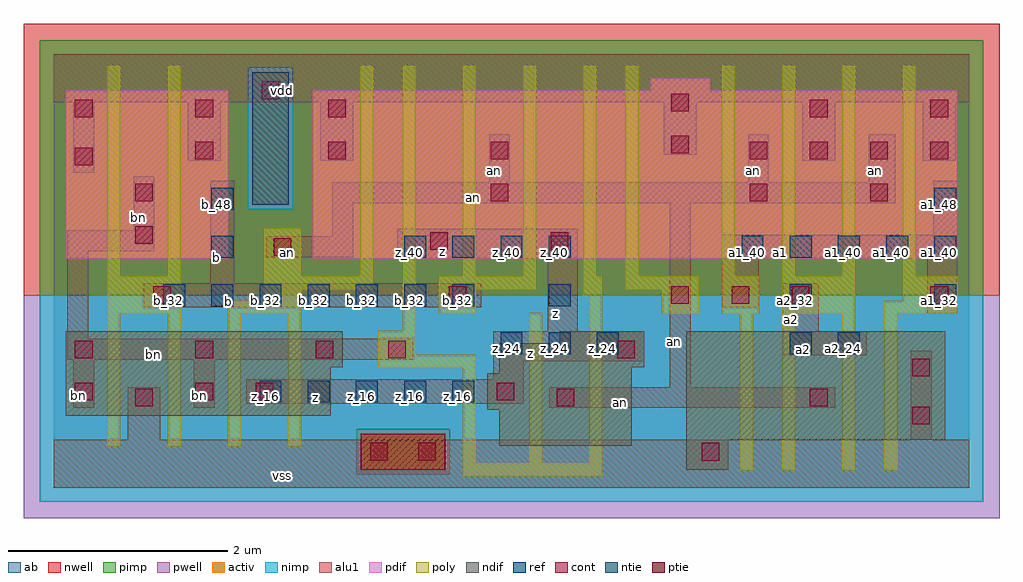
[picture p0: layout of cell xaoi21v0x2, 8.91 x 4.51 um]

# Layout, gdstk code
import gdstk
lib = gdstk.Library(unit=1e-6, precision=2.5e-09)
def R(c, l, rs):  # rectangles x0, y0, x1, y1
    for r in rs: c.add(gdstk.rectangle(r[:2], r[2:], *l))
def A(c, l, x, y, w, h, nx, ny, dx, dy):  # array of equal rectangles
    R(c, l, [(x+i*dx, y+j*dy, x+i*dx+w, y+j*dy+h) for i in range(nx) for j in range(ny)])
ndif = (3, 0)
pdif = (4, 0)
ntie = (5, 0)
ptie = (6, 0)
ref = (24, 0)
cont = (25, 0)
pwell = (41, 0)
nwell = (42, 0)
activ = (43, 0)
pimp = (44, 0)
nimp = (45, 0)
poly = (46, 0)
alu1 = (49, 0)
ab = (63, 0)

xaoi21v0x2 = lib.new_cell('xaoi21v0x2')
R(xaoi21v0x2, ndif, [(5.775,0.165,6.16,0.44), (4.07,0.385,5.28,0.715), (5.775,0.44,8.14,1.43), (0.11,0.66,2.53,1.1), (3.96,0.715,5.28,1.045), (4.07,1.045,5.28,1.1), (0.11,1.1,2.64,1.43), (4.07,1.1,5.39,1.32), (4.62,1.32,5.39,1.43)])
R(xaoi21v0x2, pdif, [(0.11,2.09,1.595,3.63), (2.365,2.09,8.25,3.63), (5.445,3.63,5.995,3.74)])
R(xaoi21v0x2, ntie, [(1.815,2.585,2.145,3.795)])
R(xaoi21v0x2, ptie, [(2.805,0.165,3.575,0.495)])
A(xaoi21v0x2, ref, 1.88, 0.78, 0.2, 0.2, 5, 1, 0.44, 0)
A(xaoi21v0x2, ref, 4.08, 1.22, 0.2, 0.2, 3, 1, 0.44, 0)
A(xaoi21v0x2, ref, 1, 1.66, 0.2, 0.2, 7, 1, 0.44, 0)
A(xaoi21v0x2, ref, 3.2, 2.1, 0.2, 0.2, 4, 1, 0.44, 0)
A(xaoi21v0x2, ref, 6.28, 2.1, 0.2, 0.2, 5, 1, 0.44, 0)
R(xaoi21v0x2, ref, [(6.72,1.22,6.92,1.42), (7.16,1.22,7.36,1.42), (4.52,1.66,4.72,1.86), (6.72,1.66,6.92,1.86), (8.04,1.66,8.24,1.86), (1.44,2.1,1.64,2.3), (1.44,2.54,1.64,2.74), (8.04,2.54,8.24,2.74)])
A(xaoi21v0x2, cont, 0.195, 1.185, 0.16, 0.16, 3, 1, 1.1, 0)
A(xaoi21v0x2, cont, 5.64, 1.68, 0.16, 0.16, 3, 1, 0.55, 0)
A(xaoi21v0x2, cont, 6.355, 3, 0.16, 0.16, 4, 1, 0.55, 0)
R(xaoi21v0x2, cont, [(2.89,0.25,3.05,0.41), (3.33,0.25,3.49,0.41), (5.915,0.25,6.075,0.41), (7.84,0.58,8,0.74), (0.745,0.745,0.905,0.905), (4.595,0.745,4.755,0.905), (6.905,0.745,7.065,0.905), (0.195,0.8,0.355,0.96), (1.295,0.8,1.455,0.96), (1.845,0.8,2.005,0.96), (4.045,0.8,4.205,0.96), (7.84,1.02,8,1.18), (3.055,1.185,3.215,1.345), (5.145,1.185,5.305,1.345), (0.91,1.68,1.07,1.84), (3.605,1.68,3.765,1.84), (8.005,1.68,8.165,1.84), (2.01,2.12,2.17,2.28), (3.44,2.175,3.6,2.335), (4.54,2.175,4.7,2.335), (0.745,2.23,0.905,2.39), (0.745,2.615,0.905,2.775), (3.99,2.615,4.15,2.775), (6.355,2.615,6.515,2.775), (7.455,2.615,7.615,2.775), (0.195,2.945,0.355,3.105), (1.295,3,1.455,3.16), (2.505,3,2.665,3.16), (3.99,3,4.15,3.16), (5.64,3.055,5.8,3.215), (0.195,3.385,0.355,3.545), (1.295,3.385,1.455,3.545), (2.505,3.385,2.665,3.545), (6.905,3.385,7.065,3.545), (8.005,3.385,8.165,3.545), (5.64,3.44,5.8,3.6), (1.9,3.55,2.06,3.71)])
R(xaoi21v0x2, pwell, [(-0.275,-0.275,8.635,1.76)])
R(xaoi21v0x2, nwell, [(-0.275,1.76,8.635,4.235)])
R(xaoi21v0x2, activ, [(2.805,0.165,3.575,0.495), (5.775,0.165,6.16,0.44), (4.07,0.385,5.28,0.715), (5.775,0.44,8.14,1.43), (0.11,0.66,2.53,1.1), (3.96,0.715,5.28,1.045), (4.07,1.045,5.28,1.1), (0.11,1.1,2.64,1.43), (4.07,1.1,5.39,1.32), (4.62,1.32,5.39,1.43), (0.11,2.09,1.595,3.63), (2.365,2.09,8.25,3.63), (1.815,2.585,2.145,3.795), (5.445,3.63,5.995,3.74)])
R(xaoi21v0x2, pimp, [(2.765,0.125,3.615,0.535), (-0.125,1.76,8.485,2.545), (-0.125,2.545,1.775,3.835), (2.185,2.545,8.485,3.835), (-0.125,3.835,8.485,4.085)])
R(xaoi21v0x2, nimp, [(-0.125,-0.125,8.485,0.125), (-0.125,0.125,2.765,0.535), (3.615,0.125,8.485,0.535), (-0.125,0.535,8.485,1.76), (1.775,2.545,2.185,3.835)])
A(xaoi21v0x2, poly, 0.49, 0.38, 0.12, 1.21, 4, 1, 0.55, 0)
A(xaoi21v0x2, poly, 3.735, 1.93, 0.12, 1.925, 3, 1, 0.55, 0)
A(xaoi21v0x2, poly, 6.1, 1.93, 0.12, 1.925, 4, 1, 0.55, 0)
R(xaoi21v0x2, poly, [(3.735,0.105,5.01,0.225), (6.265,0.16,6.385,1.59), (6.65,0.16,6.77,1.59), (7.2,0.16,7.32,1.59), (7.585,0.16,7.705,1.59), (3.735,0.225,3.855,1.095), (4.34,0.225,4.46,1.6), (4.89,0.225,5.01,1.755), (2.965,1.095,3.855,1.215), (2.965,1.215,3.305,1.435), (3.185,1.435,3.305,3.855), (0.49,1.59,1.16,1.93), (1.59,1.59,2.26,1.71), (3.515,1.59,3.855,1.81), (5.55,1.59,5.89,1.81), (6.1,1.59,6.44,1.93), (6.65,1.59,7.32,1.93), (7.585,1.59,8.255,1.71), (1.92,1.71,2.26,1.81), (7.75,1.71,8.255,1.93), (4.835,1.755,5.01,1.93), (1.92,1.81,2.92,1.93), (3.515,1.81,4.405,1.93), (5.22,1.81,5.89,1.93), (0.49,1.93,0.61,3.855), (1.04,1.93,1.16,3.855), (1.92,1.93,2.26,2.37), (2.8,1.93,2.92,3.855), (5.22,1.93,5.34,3.855)])
R(xaoi21v0x2, alu1, [(0,0,8.36,0.44), (0.675,0.44,0.975,0.92), (7.825,0.44,8.015,1.25), (0.18,0.73,0.37,1.17), (1.28,0.73,1.47,1.17), (4.525,0.73,7.135,0.92), (1.76,0.77,4.29,0.99), (5.625,0.92,5.815,2.6), (4.015,0.99,4.29,1.155), (4.015,1.155,5.39,1.43), (0.125,1.17,3.285,1.36), (6.655,1.21,7.425,1.43), (0.125,1.36,0.315,2.16), (4.51,1.43,4.785,2.09), (6.655,1.43,6.985,1.87), (7.975,1.595,8.25,2.09), (0.825,1.65,3.905,1.87), (6.105,1.65,6.435,2.09), (1.43,1.87,1.65,2.805), (3.135,2.09,4.785,2.365), (6.105,2.09,8.25,2.31), (1.94,2.105,2.735,2.295), (0.125,2.16,0.92,2.35), (2.545,2.295,2.735,2.6), (8.03,2.31,8.25,2.805), (0.73,2.35,0.92,2.845), (2.545,2.6,7.685,2.79), (3.975,2.79,4.165,3.23), (6.34,2.79,6.53,3.23), (7.44,2.79,7.685,3.23), (0.18,2.875,0.37,3.52), (1.225,2.985,1.525,3.52), (2.435,2.985,2.735,3.52), (6.835,2.985,7.135,3.52), (7.935,2.985,8.235,3.52), (5.57,3.04,5.87,3.52), (0,3.52,8.36,3.96)])
R(xaoi21v0x2, ab, [(0,0,8.36,3.96)])
xaoi21v0x2.add(gdstk.Label('vss', (2.09,0.11), layer=49, texttype=0))
xaoi21v0x2.add(gdstk.Label('an', (5.1775,0.7775), layer=49, texttype=0))
xaoi21v0x2.add(gdstk.Label('a2', (6.8475,1.265), layer=49, texttype=0))
xaoi21v0x2.add(gdstk.Label('a2', (6.7375,1.54), layer=49, texttype=0))
xaoi21v0x2.add(gdstk.Label('a1', (6.64,2.145), layer=49, texttype=0))
xaoi21v0x2.add(gdstk.Label('an', (5.6725,1.34), layer=49, texttype=0))
xaoi21v0x2.add(gdstk.Label('z', (2.3925,0.825), layer=49, texttype=0))
xaoi21v0x2.add(gdstk.Label('z', (4.3575,1.2225), layer=49, texttype=0))
xaoi21v0x2.add(gdstk.Label('bn', (1.3275,0.84), layer=49, texttype=0))
xaoi21v0x2.add(gdstk.Label('bn', (0.2275,0.84), layer=49, texttype=0))
xaoi21v0x2.add(gdstk.Label('bn', (0.915,1.2175), layer=49, texttype=0))
xaoi21v0x2.add(gdstk.Label('z', (4.5775,1.595), layer=49, texttype=0))
xaoi21v0x2.add(gdstk.Label('b', (1.595,1.705), layer=49, texttype=0))
xaoi21v0x2.add(gdstk.Label('z', (3.5475,2.1575), layer=49, texttype=0))
xaoi21v0x2.add(gdstk.Label('an', (2.1375,2.1525), layer=49, texttype=0))
xaoi21v0x2.add(gdstk.Label('an', (3.83,2.6475), layer=49, texttype=0))
xaoi21v0x2.add(gdstk.Label('an', (7.5,2.9), layer=49, texttype=0))
xaoi21v0x2.add(gdstk.Label('an', (6.3875,2.9), layer=49, texttype=0))
xaoi21v0x2.add(gdstk.Label('an', (4.0225,2.9), layer=49, texttype=0))
xaoi21v0x2.add(gdstk.Label('b', (1.485,2.1025), layer=49, texttype=0))
xaoi21v0x2.add(gdstk.Label('bn', (0.7775,2.4725), layer=49, texttype=0))
xaoi21v0x2.add(gdstk.Label('vdd', (2.09,3.63), layer=49, texttype=0))
xaoi21v0x2.add(gdstk.Label('a1_40', (6.33,2.15), layer=24, texttype=0))
xaoi21v0x2.add(gdstk.Label('a2_24', (6.77,1.27), layer=24, texttype=0))
xaoi21v0x2.add(gdstk.Label('a2_32', (6.77,1.71), layer=24, texttype=0))
xaoi21v0x2.add(gdstk.Label('a1_40', (6.77,2.15), layer=24, texttype=0))
xaoi21v0x2.add(gdstk.Label('a2_24', (7.21,1.27), layer=24, texttype=0))
xaoi21v0x2.add(gdstk.Label('a1_40', (7.21,2.15), layer=24, texttype=0))
xaoi21v0x2.add(gdstk.Label('a1_40', (7.65,2.15), layer=24, texttype=0))
xaoi21v0x2.add(gdstk.Label('a1_32', (8.09,1.71), layer=24, texttype=0))
xaoi21v0x2.add(gdstk.Label('a1_40', (8.09,2.15), layer=24, texttype=0))
xaoi21v0x2.add(gdstk.Label('a1_48', (8.09,2.59), layer=24, texttype=0))
xaoi21v0x2.add(gdstk.Label('b_32', (1.05,1.71), layer=24, texttype=0))
xaoi21v0x2.add(gdstk.Label('b_32', (1.49,1.71), layer=24, texttype=0))
xaoi21v0x2.add(gdstk.Label('b_40', (1.49,2.15), layer=24, texttype=0))
xaoi21v0x2.add(gdstk.Label('b_48', (1.49,2.59), layer=24, texttype=0))
xaoi21v0x2.add(gdstk.Label('z_16', (1.93,0.83), layer=24, texttype=0))
xaoi21v0x2.add(gdstk.Label('b_32', (1.93,1.71), layer=24, texttype=0))
xaoi21v0x2.add(gdstk.Label('z_16', (2.37,0.83), layer=24, texttype=0))
xaoi21v0x2.add(gdstk.Label('b_32', (2.37,1.71), layer=24, texttype=0))
xaoi21v0x2.add(gdstk.Label('z_16', (2.81,0.83), layer=24, texttype=0))
xaoi21v0x2.add(gdstk.Label('b_32', (2.81,1.71), layer=24, texttype=0))
xaoi21v0x2.add(gdstk.Label('z_16', (3.25,0.83), layer=24, texttype=0))
xaoi21v0x2.add(gdstk.Label('b_32', (3.25,1.71), layer=24, texttype=0))
xaoi21v0x2.add(gdstk.Label('z_40', (3.25,2.15), layer=24, texttype=0))
xaoi21v0x2.add(gdstk.Label('z_16', (3.69,0.83), layer=24, texttype=0))
xaoi21v0x2.add(gdstk.Label('b_32', (3.69,1.71), layer=24, texttype=0))
xaoi21v0x2.add(gdstk.Label('z_40', (3.69,2.15), layer=24, texttype=0))
xaoi21v0x2.add(gdstk.Label('z_24', (4.13,1.27), layer=24, texttype=0))
xaoi21v0x2.add(gdstk.Label('z_40', (4.13,2.15), layer=24, texttype=0))
xaoi21v0x2.add(gdstk.Label('z_24', (4.57,1.27), layer=24, texttype=0))
xaoi21v0x2.add(gdstk.Label('z_32', (4.57,1.71), layer=24, texttype=0))
xaoi21v0x2.add(gdstk.Label('z_40', (4.57,2.15), layer=24, texttype=0))
xaoi21v0x2.add(gdstk.Label('z_24', (5.01,1.27), layer=24, texttype=0))

lib.write_gds('xaoi21v0x2.gds')
